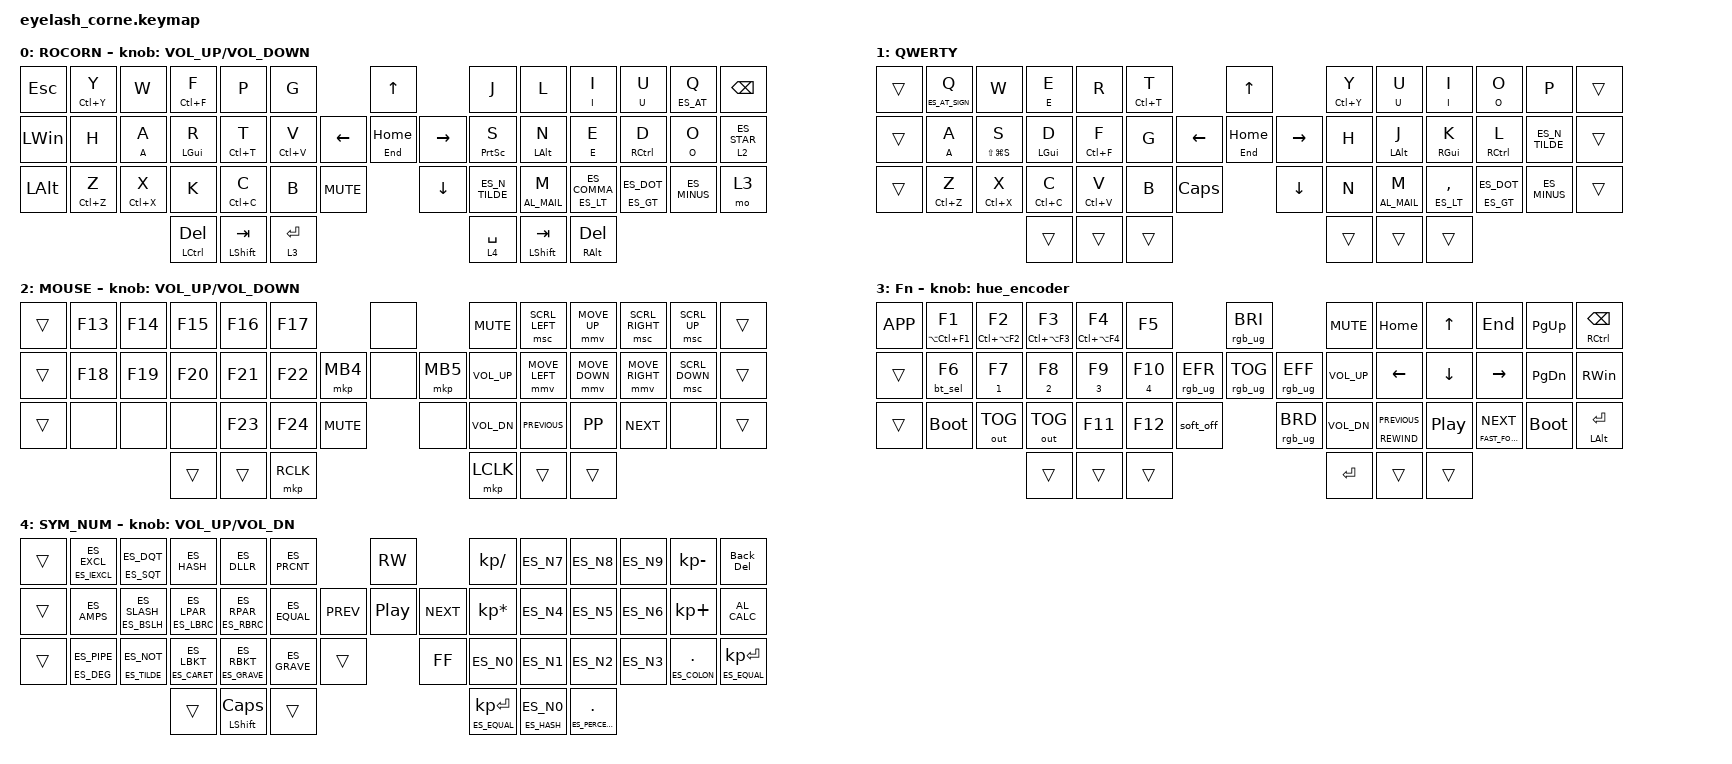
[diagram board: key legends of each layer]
#define ZMK_POINTING_DEFAULT_MOVE_VAL 600  // 600
#define ZMK_POINTING_DEFAULT_SCRL_VAL 10   // 10

#include <input/processors.dtsi>
#include <zephyr/dt-bindings/input/input-event-codes.h>

#ifndef KEYMAP_DRAWER

#include "keys_es_latin_american.h"

#endif

/* #include "keys_es_latin_american.h" */

#include <behaviors.dtsi>
#include <dt-bindings/zmk/bt.h>
#include <dt-bindings/zmk/keys.h>
#include <dt-bindings/zmk/outputs.h>
#include <dt-bindings/zmk/pointing.h>
#include <dt-bindings/zmk/rgb.h>

/ {
    zip_scroll_scaler: zip_scroll_scaler {
        compatible = "zmk,input-processor-scaler";
        #input-processor-cells = <2>;
        type = <INPUT_EV_REL>;
        codes = <INPUT_REL_WHEEL INPUT_REL_HWHEEL>;
        track-remainders;
    };
};

&mmv_input_listener { input-processors = <&zip_xy_scaler 2 1>; };

&msc_input_listener { input-processors = <&zip_scroll_scaler 2 1>; };

&msc {
    acceleration-exponent = <0>;       // 0
    time-to-max-speed-ms = <0>;        // 300
    delay-ms = <0>;                    // 0
};

&mmv {
    time-to-max-speed-ms = <500>;
    acceleration-exponent = <1>;
};

&caps_word { continue-list = <UNDERSCORE BACKSPACE DELETE SPACE LBRC NUBS LEFT_BRACKET>; };

/ {
    behaviors {
        bt_encoder: bt_encoder {
            compatible = "zmk,behavior-sensor-rotate";
            #sensor-binding-cells = <0>;
            bindings = <&bt BT_NXT>, <&bt BT_PRV>;

            tap-ms = <20>;
        };

        hue_encoder: hue_encoder {
            compatible = "zmk,behavior-sensor-rotate";
            #sensor-binding-cells = <0>;
            bindings = <&rgb_ug RGB_HUI>, <&rgb_ug RGB_HUD>;
        };

        sat_encoder: sat_encoder {
            compatible = "zmk,behavior-sensor-rotate";
            #sensor-binding-cells = <0>;
            bindings = <&rgb_ug RGB_SAI>, <&rgb_ug RGB_SAD>;
        };

        bright_encoder: bright_encoder {
            compatible = "zmk,behavior-sensor-rotate";
            #sensor-binding-cells = <0>;
            bindings = <&rgb_ug RGB_BRI>, <&rgb_ug RGB_BRD>;
        };

        scroll_encoder: scroll_encoder {
            compatible = "zmk,behavior-sensor-rotate";
            #sensor-binding-cells = <0>;
            bindings = <&msc SCRL_RIGHT>, <&msc SCRL_LEFT>;

            label = "Scroll";
        };

        as_ht: autoshift {
            compatible = "zmk,behavior-hold-tap";
            label = "AUTOSHIFT_HOLD_TAP";
            bindings = <&shift>, <&kp>;

            #binding-cells = <2>;
            tapping-term-ms = <190>;
            flavor = "tap-preferred";
        };

        hrm: home_row {
            compatible = "zmk,behavior-hold-tap";
            label = "home_row";
            bindings = <&kp>, <&kp>;

            #binding-cells = <2>;
            flavor = "tap-preferred";
            tapping-term-ms = <300>;
        };

        shortcut: shortcut {
            compatible = "zmk,behavior-hold-tap";
            bindings = <&oneshot>, <&kp>;

            #binding-cells = <2>;
            flavor = "tap-preferred";
            tapping-term-ms = <350>;
            label = "Oneshot shortcut";
        };

        lt_hold: lt_hold {
            compatible = "zmk,behavior-hold-tap";
            label = "&mo(hold)";
            bindings = <&mo>, <&kp>;

            #binding-cells = <2>;
            tapping-term-ms = <180>;
            require-prior-idle-ms = <1>;
        };

        tilde_kp: tilde_kp {
            compatible = "zmk,behavior-hold-tap";
            bindings = <&tilde>, <&kp>;

            #binding-cells = <2>;
            flavor = "tap-preferred";
            tapping-term-ms = <350>;
            label = "TILDE_KP";
        };

        kp_bt: kp_bt {
            compatible = "zmk,behavior-hold-tap";
            label = "KP_BT";
            bindings = <&bt_sel>, <&kp>;

            #binding-cells = <2>;
            flavor = "tap-preferred";
            tapping-term-ms = <300>;
        };

        Back_Del: Back_Del {
            compatible = "zmk,behavior-mod-morph";
            label = "BACK_DEL";
            bindings = <&kp BACKSPACE>, <&kp DEL>;

            #binding-cells = <0>;
            mods = <(MOD_RSFT|MOD_LSFT)>;
        };

        tilde_dieresis: tilde_dieresis {
            compatible = "zmk,behavior-mod-morph";
            label = "TILDE_DIERESIS";
            bindings = <&kp ES_ACUTE>, <&kp ES_UMLAUT>;

            #binding-cells = <0>;
            mods = <(MOD_LCTL|MOD_LALT)>;
        };

        mt_hold: mt_hold {
            compatible = "zmk,behavior-hold-tap";
            label = "MT_HOLD";
            bindings = <&kp>, <&kp>;

            #binding-cells = <2>;
            tapping-term-ms = <150>;
            flavor = "hold-preferred";
            hold-while-undecided;
        };
    };

    macros {
        shift: shift {
            compatible = "zmk,behavior-macro-one-param";
            #binding-cells = <1>;
            bindings =
                <&macro_press>,
                <&kp LSHIFT>,
                <&macro_tap>,
                <&macro_param_1to1 &kp MACRO_PLACEHOLDER>,
                <&macro_release>,
                <&kp LSHFT>;

            label = "SHIFT";
        };

        as: as {
            compatible = "zmk,behavior-macro-one-param";
            #binding-cells = <1>;
            bindings =
                <&macro_press>,
                <&macro_param_1to1 &macro_param_1to2 &as_ht MACRO_PLACEHOLDER MACRO_PLACEHOLDER>,
                <&macro_pause_for_release>,
                <&macro_release>,
                <&macro_param_1to1 &macro_param_1to2 &as_ht MACRO_PLACEHOLDER MACRO_PLACEHOLDER>;

            label = "AS";
        };

        oneshot: one_shot {
            compatible = "zmk,behavior-macro-one-param";
            #binding-cells = <1>;
            bindings =
                <&macro_tap>,
                <&macro_param_1to1 &kp MACRO_PLACEHOLDER &rgb_ug RGB_TOG &rgb_ug RGB_EFF>,
                <&macro_wait_time 50>,
                <&rgb_ug RGB_EFR &rgb_ug RGB_TOG>,
                <&macro_release>;

            label = "one_shot";
        };

        tilde: tilde_a {
            compatible = "zmk,behavior-macro-one-param";
            #binding-cells = <1>;
            bindings =
                <&macro_tap>,
                <&tilde_dieresis>,
                <&macro_tap>,
                <&macro_param_1to1 &kp MACRO_PLACEHOLDER>;

            label = "TILDE_A";
        };

        bt_sel: bt_sel {
            compatible = "zmk,behavior-macro-one-param";
            #binding-cells = <1>;
            bindings = <&macro_param_1to2 &bt BT_SEL MACRO_PLACEHOLDER>;
            label = "BT_SEL";
        };

        layer_mod: layer_mod {
            compatible = "zmk,behavior-macro-two-param";
            #binding-cells = <2>;
            bindings =
                <&macro_param_1to1>,
                <&macro_press>,
                <&kp MACRO_PLACEHOLDER &macro_param_2to1>,
                <&macro_press>,
                <&mo MACRO_PLACEHOLDER>,
                <&macro_pause_for_release>,
                <&macro_param_2to1>,
                <&macro_release>,
                <&mo MACRO_PLACEHOLDER &macro_param_1to1>,
                <&macro_release>,
                <&kp MACRO_PLACEHOLDER>;

            label = "LAYER_MOD";
        };

        Parentesis: Parentesis {
            compatible = "zmk,behavior-macro";
            #binding-cells = <0>;
            bindings = <&kp ES_LPAR &kp ES_RPAR &kp LEFT>;
            label = "PARENTESIS";
        };
    };

    combos {
        compatible = "zmk,combos";

        // Layers

        Toggle_Qwerty {
            bindings = <&tog 1>;
            key-positions = <13 0 12 27>;
            layers = <0 1>;
        };

        Toggle_SYM_NUM {
            bindings = <&tog 4>;
            key-positions = <>;
        };

        MO_SYM_NUM {
            bindings = <&mo 4>;
            key-positions = <33 32>;
            slow-release;
        };

        // Functions

        DobleSHIFT {
            bindings = <&caps_word>;
            key-positions = <43 46>;
            timeout-ms = <150>;
            layers = <0 1>;
        };

        BtCLR {
            bindings = <&bt BT_CLR>;
            key-positions = <18 17 16>;
            layers = <3>;
            timeout-ms = <100>;
        };

        // Combos

        Enter {
            bindings = <&kp ENTER>;
            key-positions = <41 40>;
            timeout-ms = <100>;
        };

        L_BSPC {
            bindings = <&kp BSPC>;
            key-positions = <5 4>;
            timeout-ms = <100>;
        };

        R_ESC {
            bindings = <&kp ESC>;
            key-positions = <7 8 9>;
            timeout-ms = <100>;
        };

        PAR {
            bindings = <&shortcut ES_LPAR ES_RPAR>;
            key-positions = <36 23>;
            layers = <0 4>;
            timeout-ms = <65>;
        };

        QST {
            bindings = <&shortcut ES_INVERTED_QUESTION ES_QUESTION>;
            key-positions = <33 17>;
            layers = <0 4>;
            timeout-ms = <65>;
        };

        Kill_App {
            bindings = <&kp LA(F4)>;
            key-positions = <18 4>;
            layers = <3>;
            require-prior-idle-ms = <0>;
            timeout-ms = <100>;
        };

        CTRL+ALT+FN {
            bindings = <&layer_mod LC(LEFT_ALT) 3>;
            key-positions = <42 28>;
            timeout-ms = <100>;
            slow-release;
        };

        Pegar {
            bindings = <&kp LC(V)>;
            key-positions = <23 24 23 22>;
        };

        Copiar_Cortar {
            bindings = <&shortcut LC(X) LC(C)>;
            key-positions = <36 37 38>;
        };

        R_BSPC {
            bindings = <&kp BSPC>;
            key-positions = <12 11>;
        };

        Parentesis {
            bindings = <&Parentesis>;
            key-positions = <9 10 8>;
        };
    };

    keymap {
        compatible = "zmk,keymap";

        Alpha_Ctm {
            display-name = "ROCORN";
            bindings = <
&kp ESC   &shortcut LC(Y) Y  &kp W              &shortcut LC(F) F   &kp P                &kp G                                      &kp UP                         &kp J                    &kp L                  &tilde_kp I I             &tilde_kp U U           &shortcut ES_AT Q  &kp BACKSPACE
&kp LWIN  &kp H              &tilde_kp A A      &hrm LGUI R         &shortcut LC(T) T    &shortcut LC(V) V                &kp LEFT  &shortcut END HOME  &kp RIGHT  &shortcut PRINTSCREEN S  &hrm LEFT_ALT N        &tilde_kp E E             &hrm RCTRL D            &tilde_kp O O      &lt 2 ES_STAR
&kp LALT  &shortcut LC(Z) Z  &shortcut LC(X) X  &kp K               &shortcut LC(C) C    &kp B              &kp C_MUTE              &kp DOWN                       &kp ES_N_TILDE           &shortcut C_AL_MAIL M  &shortcut ES_LT ES_COMMA  &shortcut ES_GT ES_DOT  &kp ES_MINUS       &mo 3
                                                &mt_hold LCTRL DEL  &mt_hold LSHIFT TAB  &lt_hold 3 ENTER                                                          &lt 4 SPACE              &mt_hold LSHIFT TAB    &mt_hold RALT DEL
            >;

            sensor-bindings = <&inc_dec_kp C_VOLUME_UP C_VOLUME_DOWN>;
            label = "ROCORN";
        };

        QWERTY {
            display-name = "QWERTY";
            bindings = <
&trans  &shortcut ES_AT_SIGN Q  &kp W                  &tilde_kp E E      &kp R              &shortcut LC(T) T                            &kp UP                         &shortcut LC(Y) Y  &tilde_kp U U          &tilde_kp I I          &tilde_kp O O           &kp P           &trans
&trans  &tilde_kp A A           &shortcut LS(LG(S)) S  &hrm LGUI D        &shortcut LC(F) F  &kp G                              &kp LEFT  &shortcut END HOME  &kp RIGHT  &kp H              &hrm LEFT_ALT J        &hrm RGUI K            &hrm RCTRL L            &kp ES_N_TILDE  &trans
&trans  &shortcut LC(Z) Z       &shortcut LC(X) X      &shortcut LC(C) C  &shortcut LC(V) V  &kp B              &kp CAPSLOCK              &kp DOWN                       &kp N              &shortcut C_AL_MAIL M  &shortcut ES_LT COMMA  &shortcut ES_GT ES_DOT  &kp ES_MINUS    &trans
                                                       &trans             &trans             &trans                                                                      &trans             &trans                 &trans
            >;
        };

        Mouse {
            display-name = "MOUSE";
            bindings = <
&trans  &kp F13  &kp F14  &kp F15  &kp F16  &kp F17                            &none            &kp K_MUTE    &msc SCRL_LEFT  &mmv MOVE_UP    &msc SCRL_RIGHT  &msc SCRL_UP    &trans
&trans  &kp F18  &kp F19  &kp F20  &kp F21  &kp F22                  &mkp MB4  &none  &mkp MB5  &kp K_VOL_UP  &mmv MOVE_LEFT  &mmv MOVE_DOWN  &mmv MOVE_RIGHT  &msc SCRL_DOWN  &trans
&trans  &none    &none    &none    &kp F23  &kp F24    &kp K_MUTE              &none            &kp K_VOL_DN  &kp K_PREVIOUS  &kp K_PP        &kp K_NEXT       &none           &trans
                          &trans   &trans   &mkp RCLK                                           &mkp LCLK     &trans          &trans
            >;

            sensor-bindings = <&inc_dec_kp K_VOLUME_UP K_VOLUME_DOWN>;
        };

        Fn {
            display-name = "Fn";
            bindings = <
&kp K_APP  &shortcut LA(LC(F1)) F1  &shortcut LC(LA(F2)) F2  &shortcut LC(LA(F3)) F3  &shortcut LC(LA(F4)) F4  &kp F5                                      &rgb_ug RGB_BRI                   &kp C_MUTE    &kp HOME                       &kp UP            &kp END                          &kp PAGE_UP    &hrm RCTRL BACKSPACE
&trans     &kp_bt 0 F6              &kp_bt 1 F7              &kp_bt 2 F8              &kp_bt 3 F9              &kp_bt 4 F10               &rgb_ug RGB_EFR  &rgb_ug RGB_TOG  &rgb_ug RGB_EFF  &kp C_VOL_UP  &kp LEFT                       &kp DOWN          &kp RIGHT                        &kp PAGE_DOWN  &kp RIGHT_WIN
&trans     &bootloader              &out OUT_TOG             &out OUT_TOG             &kp F11                  &kp F12       &soft_off                     &rgb_ug RGB_BRD                   &kp C_VOL_DN  &shortcut C_REWIND C_PREVIOUS  &kp C_PLAY_PAUSE  &shortcut C_FAST_FORWARD C_NEXT  &bootloader    &hrm LEFT_ALT ENTER
                                                             &trans                   &trans                   &trans                                                                        &kp ENTER     &trans                         &trans
            >;

            sensor-bindings = <&hue_encoder>;
        };

        Symbol+Number {
            display-name = "SYM_NUM";
            bindings = <
&trans  &shortcut ES_IEXCL ES_EXCL  &shortcut ES_SQT ES_DQT     &kp ES_HASH                 &kp ES_DLLR                 &kp ES_PRCNT                        &kp C_RW              &kp KP_DIVIDE                &kp ES_N7                &kp ES_N8                 &kp ES_N9  &kp KP_MINUS            &Back_Del
&trans  &kp ES_AMPS                 &shortcut ES_BSLH ES_SLASH  &shortcut ES_LBRC ES_LPAR   &shortcut ES_RBRC ES_RPAR   &kp ES_EQUAL            &kp C_PREV  &kp C_PP  &kp C_NEXT  &kp KP_MULTIPLY              &kp ES_N4                &kp ES_N5                 &kp ES_N6  &kp KP_PLUS             &kp C_AL_CALC
&trans  &shortcut ES_DEG ES_PIPE    &shortcut ES_TILDE ES_NOT   &shortcut ES_CARET ES_LBKT  &shortcut ES_GRAVE ES_RBKT  &kp ES_GRAVE  &trans                &kp C_FF              &kp ES_N0                    &kp ES_N1                &kp ES_N2                 &kp ES_N3  &shortcut ES_COLON DOT  &shortcut ES_EQUAL KP_ENTER
                                                                &trans                      &mt LEFT_SHIFT CAPS         &trans                                                    &shortcut ES_EQUAL KP_ENTER  &shortcut ES_HASH ES_N0  &shortcut ES_PERCENT DOT
            >;

            sensor-bindings = <&inc_dec_kp C_VOL_UP C_VOL_DN>;
        };
    };
};
